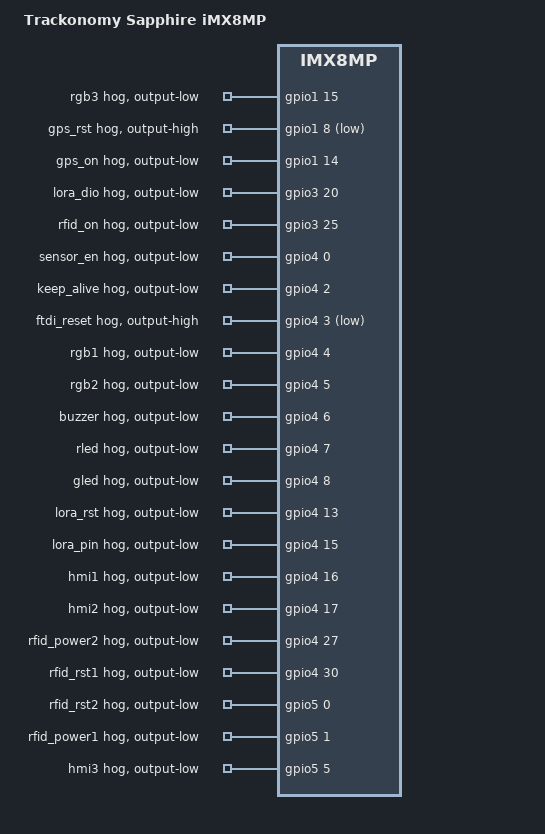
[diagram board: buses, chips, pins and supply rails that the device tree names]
// SPDX-License-Identifier: (GPL-2.0+ OR MIT)
/*
 * Copyright 2026 Trackonomy Systems.
 *
 * Sapphire carrier board for TechNexion EDM-G iMX8MP SOM.
 * Inherits everything from imx8mp-edm-g.dts; only carrier-specific
 * GPIO defaults and pinmux for the Sapphire baseboard live here.
 */

#include "imx8mp-edm-g.dts"

/ {
	model = "Trackonomy Sapphire iMX8MP";
	compatible = "trk,sapphire-imx8mp", "fsl,imx8mp";
};

&gpio1 {
	rgb3    { gpio-hog; gpios = <15 0>; output-low;  line-name = "rgb3"; };
	gps_rst { gpio-hog; gpios = <8  1>; output-high; line-name = "gps_rst"; };
	gps_on  { gpio-hog; gpios = <14 0>; output-low;  line-name = "gps_on"; };
};

&gpio3 {
	lora_dio { gpio-hog; gpios = <20 0>; output-low; line-name = "lora_dio"; };
	rfid_on  { gpio-hog; gpios = <25 0>; output-low; line-name = "rfid_on"; };
};

&gpio4 {
	sensor_en   { gpio-hog; gpios = <0  0>; output-low;  line-name = "sensor_en"; };
	keep_alive  { gpio-hog; gpios = <2  0>; output-low;  line-name = "keep_alive"; };
	ftdi_reset  { gpio-hog; gpios = <3  1>; output-high; line-name = "ftdi_reset"; };
	rgb1        { gpio-hog; gpios = <4  0>; output-low;  line-name = "rgb1"; };
	rgb2        { gpio-hog; gpios = <5  0>; output-low;  line-name = "rgb2"; };
	buzzer      { gpio-hog; gpios = <6  0>; output-low;  line-name = "buzzer"; };
	rled        { gpio-hog; gpios = <7  0>; output-low;  line-name = "rled"; };
	gled        { gpio-hog; gpios = <8  0>; output-low;  line-name = "gled"; };
	lora_rst    { gpio-hog; gpios = <13 0>; output-low;  line-name = "lora_rst"; };
	lora_pin    { gpio-hog; gpios = <15 0>; output-low;  line-name = "lora_pin"; };
	hmi1        { gpio-hog; gpios = <16 0>; output-low;  line-name = "hmi1"; };
	hmi2        { gpio-hog; gpios = <17 0>; output-low;  line-name = "hmi2"; };
	rfid_power2 { gpio-hog; gpios = <27 0>; output-low;  line-name = "rfid_power2"; };
	rfid_rst1   { gpio-hog; gpios = <30 0>; output-low;  line-name = "rfid_rst1"; };
};

&gpio5 {
	rfid_rst2   { gpio-hog; gpios = <0 0>; output-low; line-name = "rfid_rst2"; };
	rfid_power1 { gpio-hog; gpios = <1 0>; output-low; line-name = "rfid_power1"; };
	hmi3        { gpio-hog; gpios = <5 0>; output-low; line-name = "hmi3"; };
};

&iomuxc {
	/* Augment, do NOT replace, TN's pinctrl-0 = <&pinctrl_hog_1> */
	pinctrl-0 = <&pinctrl_hog_1>, <&pinctrl_hog>;

	pinctrl_hog: hoggrp {
		fsl,pins = < 
			MX8MP_IOMUXC_HDMI_DDC_SCL__HDMIMIX_HDMI_SCL    0x400001c2
			MX8MP_IOMUXC_HDMI_DDC_SDA__HDMIMIX_HDMI_SDA    0x400001c2
			MX8MP_IOMUXC_HDMI_HPD__HDMIMIX_HDMI_HPD        0x40000010
			MX8MP_IOMUXC_HDMI_CEC__HDMIMIX_HDMI_CEC        0x40000010
			MX8MP_IOMUXC_SAI1_TXD1__GPIO4_IO13             0x19
			MX8MP_IOMUXC_SAI5_RXC__GPIO3_IO20              0x19
			MX8MP_IOMUXC_SAI1_TXD4__GPIO4_IO16             0x19
			MX8MP_IOMUXC_SAI1_RXD2__GPIO4_IO04             0x19
			MX8MP_IOMUXC_SAI1_TXD5__GPIO4_IO17             0x19
			MX8MP_IOMUXC_SAI1_RXD3__GPIO4_IO05             0x19
			MX8MP_IOMUXC_GPIO1_IO06__GPIO1_IO06            0x19
			MX8MP_IOMUXC_GPIO1_IO15__GPIO1_IO15            0x19
			MX8MP_IOMUXC_GPIO1_IO08__GPIO1_IO08            0x19
			MX8MP_IOMUXC_GPIO1_IO07__GPIO1_IO07            0x19
			MX8MP_IOMUXC_GPIO1_IO14__GPIO1_IO14            0x19
			MX8MP_IOMUXC_SAI2_RXFS__GPIO4_IO21             0x19
			MX8MP_IOMUXC_GPIO1_IO13__GPIO1_IO13            0x19
			MX8MP_IOMUXC_GPIO1_IO01__GPIO1_IO01            0x19
			MX8MP_IOMUXC_SAI5_RXD3__GPIO3_IO24             0x19
			MX8MP_IOMUXC_SAI5_MCLK__GPIO3_IO25             0x19
			MX8MP_IOMUXC_SAI3_RXD__GPIO4_IO30              0x19
			MX8MP_IOMUXC_SAI3_TXFS__GPIO4_IO31             0x19
			MX8MP_IOMUXC_SAI3_TXD__GPIO5_IO01              0x19
			MX8MP_IOMUXC_SAI3_TXC__GPIO5_IO00              0x19
			MX8MP_IOMUXC_SAI3_MCLK__GPIO5_IO02             0x19
			MX8MP_IOMUXC_SAI2_MCLK__GPIO4_IO27             0x19
			MX8MP_IOMUXC_GPIO1_IO10__GPIO1_IO10            0x19
			MX8MP_IOMUXC_SAI1_RXD0__GPIO4_IO02             0x19
			MX8MP_IOMUXC_SAI1_RXD1__GPIO4_IO03             0x19
			MX8MP_IOMUXC_SAI1_TXFS__GPIO4_IO10             0x19
			MX8MP_IOMUXC_SAI1_TXC__GPIO4_IO11              0x19
			MX8MP_IOMUXC_SAI1_RXD4__GPIO4_IO06             0x19
			MX8MP_IOMUXC_SAI1_RXD5__GPIO4_IO07             0x19
			MX8MP_IOMUXC_SAI1_RXD6__GPIO4_IO08             0x19
			MX8MP_IOMUXC_SAI1_RXD7__GPIO4_IO09             0x19
			MX8MP_IOMUXC_SPDIF_EXT_CLK__GPIO5_IO05         0x19
			MX8MP_IOMUXC_SAI1_RXFS__GPIO4_IO00             0x19
		>;
	};
};

